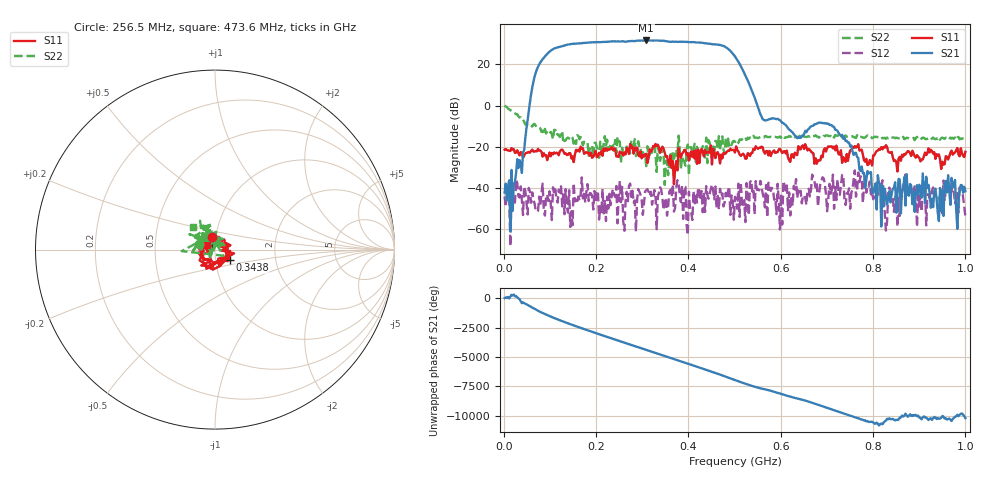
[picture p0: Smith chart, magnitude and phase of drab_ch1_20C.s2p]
!Keysight Technologies N9923A: A.12.45
!Date: Friday, 31 October 2025 04:39:17
!Timezone: (UTC+08:00) Kuala Lumpur, Singapore
!Model: N9923A
!Serial: MY61181427
!GPS Latitude:
!GPS Longitude:
!GPS TimeStamp: 0001-01-01 00:00:00Z
!GPS Seconds Since Last Read: 0
!CHECKSUM:0264430868
!Correction: S11(ON U?)S21(ON U?)S12(ON U?)S22(ON U?)
!S2P File: Measurements:S11,S21,S12,S22:
# Hz S DB R 50
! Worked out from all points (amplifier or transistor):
!   401 points, 2 MHz to 1 GHz, reference 50 ohm
!   highest |S21| = 31.7 dB at 308.9 MHz (marker M1)
!   |S21| within 3 dB of that: 123.1 MHz to 479.1 MHz (356.1 MHz wide, 118 % of centre)
!   unconditionally stable (mu >= 1): start of sweep to end of sweep
!   at 166.7 MHz: K = 2.30, MAG = 30.5 dB, |S12| = -43.4 dB
!   at 501 MHz: K = 5.20, MAG = 24.0 dB, |S12| = -44.3 dB
!   at 1 GHz: K = 29687.71, MAG = -41.5 dB, |S12| = -54.1 dB
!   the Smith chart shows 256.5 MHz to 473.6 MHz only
!   S11 on the Smith chart (normalised r, x): 256.5 MHz: 0.96, +0.14; 343.8 MHz: 1.17, -0.14; 473.6 MHz: 0.91, +0.05
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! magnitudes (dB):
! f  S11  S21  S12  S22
! 2 MHz  -21.4  -42.2  -44.2  0.0
! 19.46 MHz  -21.5  -51.2  -42.9  -2.8
! 31.94 MHz  -23.1  -30.4  -44.1  -5.3
! 76.85 MHz  -21.9  20.0  -44.2  -10.8
! 169.2 MHz  -21.0  30.3  -34.9  -17.4
! 256.5 MHz  -22.8  31.3  -39.5  -20.5
! 308.9 MHz  -23.5  31.7  -41.1  -29.4
! 336.3 MHz  -20.4  31.6  -42.3  -22.3
! 343.8 MHz  -20.0  31.5  -45.2  -20.7
! 371.3 MHz  -31.2  31.1  -49.8  -23.8
! 401.2 MHz  -26.7  30.8  -41.9  -33.9
! 473.6 MHz  -25.7  29.1  -42.7  -15.0
! 501 MHz  -22.8  23.9  -44.3  -17.7
! 563.4 MHz  -22.3  -6.9  -44.8  -15.5
! 668.2 MHz  -22.9  -9.9  -33.6  -14.9
! 715.6 MHz  -19.9  -10.4  -50.2  -15.6
! 835.3 MHz  -22.8  -41.8  -39.8  -15.2
! 857.8 MHz  -24.9  -35.9  -53.6  -16.0
! 870.3 MHz  -23.8  -48.6  -33.5  -16.0
! 900.2 MHz  -25.4  -38.5  -49.0  -15.9
! 957.6 MHz  -24.6  -36.6  -41.2  -15.6
! 1 GHz  -22.4  -41.6  -54.1  -16.1
